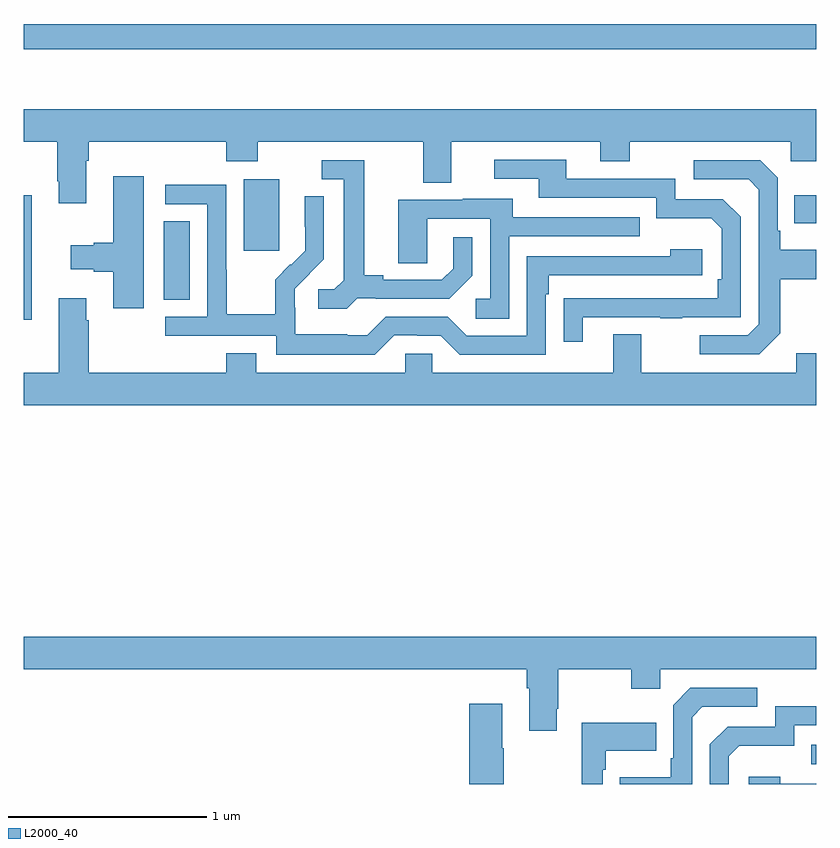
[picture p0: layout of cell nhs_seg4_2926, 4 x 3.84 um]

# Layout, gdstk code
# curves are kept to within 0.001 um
import gdstk
lib = gdstk.Library(unit=1e-6, precision=1e-09)
def R(c, l, rs):  # rectangles x0, y0, x1, y1
    for r in rs: c.add(gdstk.rectangle(r[:2], r[2:], *l))
def P(c, l, *ps):  # polygons
    for p in ps: c.add(gdstk.Polygon(p, *l))
L2000_40 = (2000, 40)

nhs_seg4_2926 = lib.new_cell('nhs_seg4_2926')
R(nhs_seg4_2926, L2000_40, [(268.975,803.001,269,803.097), (265,805.245,265.04,805.873), (265.706,805.345,265.837,805.742), (266.111,805.593,266.29,805.954), (268.891,805.733,269,805.873), (265,806.61,269,806.738)])
P(nhs_seg4_2926, L2000_40, [(265.315,806.048),(265.328,806.048),(265.328,806.144),(266.021,806.144),(266.021,806.045),(266.181,806.045),(266.181,806.144),(267.017,806.144),(267.017,805.936),(267.157,805.936),(267.157,806.144),(267.911,806.144),(267.911,806.045),(268.059,806.045),(268.059,806.144),(268.872,806.144),(268.872,806.045),(269,806.045),(269,806.308),(265,806.308),(265,806.144),(265.168,806.144),(265.168,805.945),(265.175,805.945),(265.175,805.833),(265.315,805.833)],
  [(267.823,805.257),(268.213,805.257),(268.213,805.252),(268.325,805.252),(268.325,805.257),(268.62,805.257),(268.62,805.764),(268.53,805.854),(268.29,805.854),(268.29,805.956),(267.739,805.956),(267.739,806.052),(267.375,806.052),(267.375,805.956),(267.599,805.956),(267.599,805.86),(268.194,805.86),(268.194,805.757),(268.471,805.757),(268.524,805.704),(268.524,805.45),(268.504,805.45),(268.504,805.353),(267.727,805.352),(267.727,805.134),(267.823,805.134)],
  [(266.682,805.353),(266.776,805.353),(266.776,805.35),(267.148,805.35),(267.264,805.466),(267.264,805.66),(267.167,805.66),(267.167,805.503),(267.11,805.446),(266.815,805.446),(266.815,805.469),(266.719,805.469),(266.719,806.049),(266.505,806.049),(266.505,805.953),(266.615,805.953),(266.615,805.445),(266.568,805.398),(266.487,805.398),(266.487,805.301),(266.63,805.301)],
  [(268.819,805.177),(268.819,805.45),(269,805.45),(269,805.597),(268.819,805.597),(268.819,805.693),(268.806,805.693),(268.806,805.962),(268.719,806.049),(268.383,806.049),(268.383,805.953),(268.659,805.953),(268.71,805.902),(268.71,805.221),(268.656,805.167),(268.413,805.167),(268.413,805.071),(268.713,805.071)],
  [(265.606,805.969),(265.451,805.969),(265.451,805.634),(265.352,805.634),(265.352,805.621),(265.236,805.621),(265.236,805.499),(265.352,805.499),(265.352,805.487),(265.451,805.487),(265.451,805.302),(265.606,805.302)],
  [(266.871,805.167),(266.987,805.167),(266.987,805.164),(267.105,805.164),(267.201,805.068),(267.636,805.068),(267.636,805.373),(267.649,805.373),(267.649,805.47),(268.426,805.47),(268.426,805.6),(268.265,805.6),(268.265,805.566),(267.54,805.566),(267.54,805.164),(267.237,805.164),(267.141,805.26),(266.826,805.26),(266.733,805.167),(266.633,805.167),(266.633,805.171),(266.37,805.171),(266.37,805.305),(266.368,805.305),(266.368,805.402),(266.514,805.55),(266.514,805.868),(266.418,805.868),(266.418,805.714),(266.42,805.714),(266.42,805.592),(266.349,805.521),(266.346,805.524),(266.269,805.447),(266.269,805.273),(266.025,805.273),(266.025,805.496),(266.022,805.496),(266.022,805.926),(265.713,805.926),(265.713,805.827),(265.926,805.827),(265.926,805.26),(265.713,805.26),(265.713,805.164),(266.274,805.164),(266.274,805.067),(266.771,805.067)],
  [(267.45,805.665),(268.109,805.665),(268.109,805.761),(267.469,805.761),(267.469,805.855),(267.215,805.855),(267.215,805.851),(266.891,805.851),(266.891,805.531),(267.036,805.531),(267.036,805.755),(267.354,805.755),(267.354,805.35),(267.282,805.35),(267.282,805.249),(267.45,805.249)],
  [(269,805.075),(268.901,805.075),(268.901,804.976),(268.117,804.976),(268.117,805.171),(267.977,805.171),(267.977,804.976),(267.063,804.976),(267.063,805.074),(266.925,805.074),(266.925,804.976),(266.173,804.976),(266.173,805.075),(266.021,805.075),(266.021,804.976),(265.328,804.976),(265.328,805.241),(265.315,805.241),(265.315,805.354),(265.175,805.354),(265.175,804.976),(265,804.976),(265,804.812),(269,804.812)],
  [(267.691,803.281),(267.699,803.281),(267.699,803.48),(268.066,803.48),(268.066,803.381),(268.212,803.381),(268.212,803.48),(269,803.48),(269,803.644),(265,803.644),(265,803.48),(267.539,803.48),(267.539,803.384),(267.551,803.384),(267.551,803.169),(267.691,803.169)],
  [(268.374,803.238),(268.425,803.289),(268.702,803.289),(268.702,803.385),(268.365,803.385),(268.278,803.298),(268.278,803.029),(268.266,803.029),(268.266,802.933),(268.009,802.933),(268.009,802.9),(268.374,802.9)],
  [(267.423,803.081),(267.415,803.081),(267.415,803.305),(267.248,803.305),(267.248,802.9),(267.423,802.9)],
  [(268.56,803.04),(268.613,803.093),(268.89,803.093),(268.89,803.196),(269,803.196),(269,803.292),(268.794,803.292),(268.794,803.19),(268.554,803.19),(268.464,803.1),(268.464,802.9),(268.56,802.9)],
  [(267.924,802.973),(267.937,802.973),(267.937,803.069),(268.193,803.069),(268.193,803.209),(267.816,803.209),(267.816,802.9),(267.924,802.9)],
  [(269,802.902),(268.82,802.902),(268.82,802.936),(268.659,802.936),(268.659,802.9),(269,802.9)])

lib.write_gds('nhs_seg4_2926.gds')
